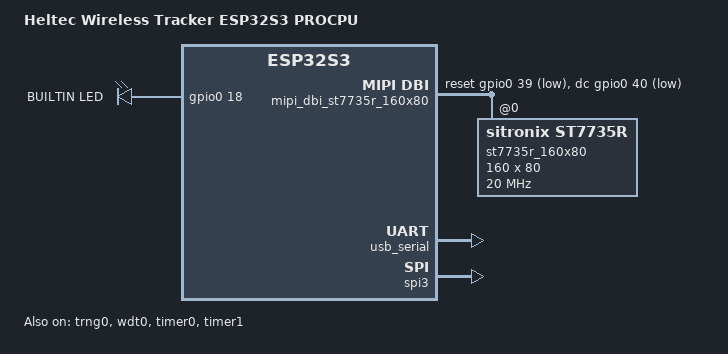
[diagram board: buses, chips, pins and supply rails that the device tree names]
/*
 * Copyright (c) 2023 Seeed Studio inc.
 *
 * SPDX-License-Identifier: Apache-2.0
 */

/dts-v1/;

#include <espressif/esp32s3/esp32s3_fn8.dtsi>
#include "heltec_wireless_tracker-pinctrl.dtsi"
#include <zephyr/dt-bindings/mipi_dbi/mipi_dbi.h>

/ {
	model = "Heltec Wireless Tracker ESP32S3 PROCPU";
	compatible = "espressif,esp32s3";

	chosen {
		zephyr,sram = &sram0;
		zephyr,console = &usb_serial;
		zephyr,shell-uart = &usb_serial;
		zephyr,flash = &flash0;
		zephyr,code-partition = &slot0_partition;
		zephyr,display = &st7735r_160x80;
	};

	aliases {
		i2c0 = &i2c0;
		watchdog0 = &wdt0;
		led0 = &led0;
	};

	leds {
		compatible = "gpio-leds";
		led0: led_0 {
			gpios = <&gpio0 18 GPIO_ACTIVE_HIGH>;
			label = "BUILTIN LED";
		};
	};


	mipi_dbi_st7735r_160x80{
		compatible = "zephyr,mipi-dbi-spi";
		spi-dev = <&spi3>;
		dc-gpios = <&gpio0 40 GPIO_ACTIVE_LOW>;
		reset-gpios = <&gpio0 39 GPIO_ACTIVE_LOW>;
		#address-cells = <1>;
		#size-cells = <0>;

		st7735r_160x80: st7735r@0 {
			compatible = "sitronix,st7735r";
			mipi-max-frequency = <20000000>;
			mipi-mode = <MIPI_DBI_MODE_SPI_4WIRE>;
			reg = <0>;
			width = <160>;
			height = <80>;
			x-offset = <0>;
			y-offset = <0>;
			madctl = <0x60>;
			colmod = <0x55>;
			vmctr1 = <0x0e>;
			pwctr1 = [a2 02 84];
			pwctr2 = [c5];
			pwctr3 = [0a 00];
			pwctr4 = [8a 2a];
			pwctr5 = [8a ee];
			frmctr1 = [01 2c 2d];
			frmctr2 = [01 2c 2d];
			frmctr3 = [01 2c 2d 01 2c 2d];
			gamctrp1 = [02 1c 07 12 37 32 29 2d 29 25 2b 39 00 01 03 10];
			gamctrn1 = [03 1d 07 06 2e 2c 29 2d 2e 2e 37 3f 00 00 02 10];
		};
	};

};

&usb_serial {
	status = "okay";
};

&trng0 {
	status = "okay";
};

&spi3 {
	status = "okay";
	#address-cells = <1>;
	#size-cells = <0>;
	cs-gpios = <&gpio0 38 GPIO_ACTIVE_LOW>;
	pinctrl-0 = <&spim3_default>;
	pinctrl-names = "default";
};

&gpio0 {
	status = "okay";
};

&gpio1 {
	status = "okay";
};

&wdt0 {
	status = "okay";
};

&timer0 {
	status = "okay";
};

&timer1 {
	status = "okay";
};

&flash0 {
	status = "okay";
	partitions {
		compatible = "fixed-partitions";
		#address-cells = <1>;
		#size-cells = <1>;

		boot_partition: partition@0 {
			label = "mcuboot";
			reg = <0x00000000 0x0000F000>;
			read-only;
		};

		slot0_partition: partition@10000 {
			label = "image-0";
			reg = <0x00010000 0x00100000>;
		};

		slot1_partition: partition@110000 {
			label = "image-1";
			reg = <0x00110000 0x00100000>;
		};

		scratch_partition: partition@210000 {
			label = "image-scratch";
			reg = <0x00210000 0x00040000>;
		};

		storage_partition: partition@250000 {
			label = "storage";
			reg = <0x00250000 0x00006000>;
		};
	};
};
